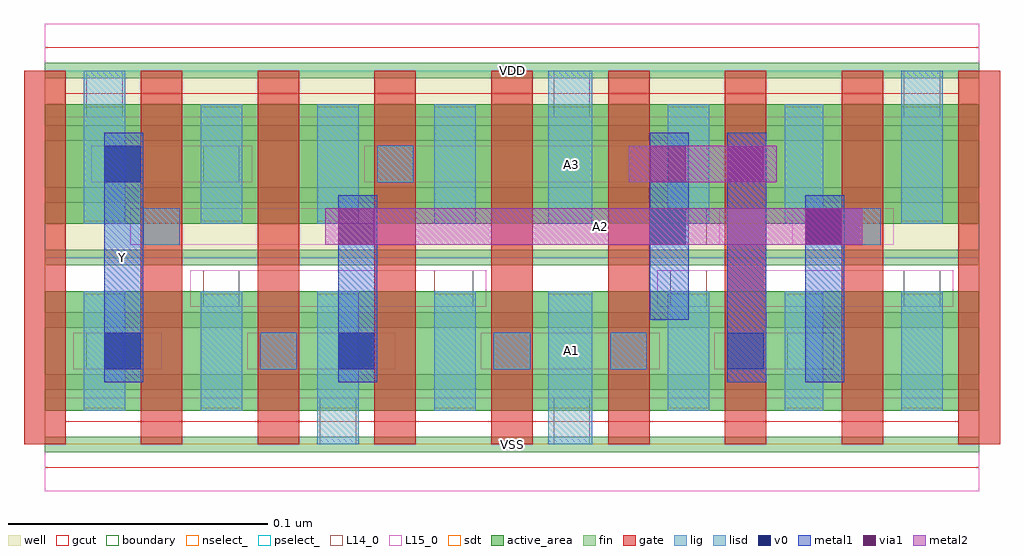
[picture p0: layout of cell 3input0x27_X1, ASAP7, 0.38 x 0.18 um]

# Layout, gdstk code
import gdstk
lib = gdstk.Library(unit=1e-6, precision=1e-09)
def R(c, l, rs):  # rectangles x0, y0, x1, y1
    for r in rs: c.add(gdstk.rectangle(r[:2], r[2:], *l))
def A(c, l, x, y, w, h, nx, ny, dx, dy):  # array of equal rectangles
    R(c, l, [(x+i*dx, y+j*dy, x+i*dx+w, y+j*dy+h) for i in range(nx) for j in range(ny)])
def P(c, l, *ps):  # polygons
    for p in ps: c.add(gdstk.Polygon(p, *l))
well = (1, 0)
fin = (2, 0)
gate = (7, 0)
gcut = (10, 0)
active_area = (11, 0)
nselect_ = (12, 0)
pselect_ = (13, 0)
L14_0 = (14, 0)
L15_0 = (15, 0)
lig = (16, 0)
lisd = (17, 0)
v0 = (18, 0)
metal1 = (19, 0)
metal2 = (20, 0)
via1 = (21, 0)
sdt = (88, 0)
boundary = (100, 0)

c_3input0x27_x1 = lib.new_cell('3input0x27_X1')
R(c_3input0x27_x1, well, [(0,0.072,0.36,0.144)])
A(c_3input0x27_x1, fin, 0, -0.003, 0.36, 0.006, 1, 7, 0, 0.024)
A(c_3input0x27_x1, gate, -0.008, 0, 0.016, 0.144, 9, 1, 0.045, 0)
P(c_3input0x27_x1, gcut, [(0,-0.009),(0,0),(-0.008,0),(-0.008,0.135),(0.008,0.135),(0.008,0.009),(0.352,0.009),(0.352,0.135),(-0.008,0.135),(-0.008,0.144),(0,0.144),(0,0.153),(0.36,0.153),(0.36,0.144),(0.368,0.144),(0.368,0),(0.36,0),(0.36,-0.009)])
R(c_3input0x27_x1, active_area, [(0,0.013,0.36,0.059), (0,0.085,0.36,0.131)])
R(c_3input0x27_x1, nselect_, [(0,0,0.36,0.072)])
R(c_3input0x27_x1, pselect_, [(0,0.072,0.36,0.144)])
R(c_3input0x27_x1, L14_0, [(0.106,0,0.12,0.018), (0.196,0,0.21,0.018), (0.016,0.029,0.03,0.043), (0.083,0.029,0.097,0.043), (0.173,0.029,0.187,0.043), (0.218,0.029,0.232,0.043), (0.286,0.029,0.3,0.043), (0.061,0.053,0.075,0.067), (0.15,0.053,0.165,0.067), (0.241,0.053,0.255,0.067), (0.331,0.053,0.345,0.067), (0.038,0.077,0.052,0.091), (0.241,0.077,0.255,0.091), (0.308,0.077,0.322,0.091), (0.061,0.101,0.075,0.115), (0.128,0.101,0.142,0.115), (0.263,0.101,0.277,0.115), (0.016,0.126,0.03,0.144), (0.196,0.126,0.21,0.144), (0.331,0.126,0.345,0.144)])
R(c_3input0x27_x1, L15_0, [(0,-0.018,0.36,0.018), (0.011,0.029,0.045,0.043), (0.078,0.029,0.135,0.043), (0.168,0.029,0.237,0.043), (0.258,0.029,0.304,0.043), (0.056,0.053,0.17,0.067), (0.236,0.053,0.35,0.067), (0.033,0.077,0.26,0.091), (0.288,0.077,0.327,0.091), (0.018,0.101,0.08,0.115), (0.123,0.101,0.282,0.115), (0,0.126,0.36,0.162)])
R(c_3input0x27_x1, lig, [(0.083,0.029,0.097,0.043), (0.173,0.029,0.187,0.043), (0.218,0.029,0.232,0.043), (0.038,0.077,0.052,0.091), (0.308,0.077,0.322,0.091), (0.128,0.101,0.142,0.115), (0.263,0.101,0.277,0.115)])
A(c_3input0x27_x1, lisd, 0.06, 0.013, 0.016, 0.046, 4, 1, 0.09, 0)
A(c_3input0x27_x1, lisd, 0.06, 0.085, 0.016, 0.046, 3, 1, 0.045, 0)
R(c_3input0x27_x1, lisd, [(0.105,0,0.121,0.059), (0.194,0,0.211,0.059), (0.015,0.013,0.031,0.059), (0.285,0.013,0.3,0.059), (0.015,0.085,0.031,0.144), (0.194,0.085,0.211,0.144), (0.24,0.085,0.256,0.131), (0.285,0.085,0.3,0.131), (0.33,0.085,0.346,0.144)])
R(c_3input0x27_x1, v0, [(0.023,0.029,0.037,0.043), (0.113,0.029,0.127,0.043), (0.263,0.029,0.277,0.043), (0.233,0.077,0.247,0.091), (0.293,0.077,0.307,0.091), (0.023,0.101,0.037,0.115)])
R(c_3input0x27_x1, metal1, [(0.023,0.024,0.038,0.12), (0.113,0.024,0.128,0.096), (0.263,0.024,0.278,0.12), (0.293,0.024,0.308,0.096), (0.233,0.048,0.248,0.12)])
R(c_3input0x27_x1, metal2, [(0.108,0.077,0.315,0.091), (0.225,0.101,0.282,0.115)])
R(c_3input0x27_x1, via1, [(0.113,0.077,0.127,0.091), (0.293,0.077,0.307,0.091), (0.233,0.101,0.247,0.115), (0.263,0.101,0.277,0.115)])
A(c_3input0x27_x1, sdt, 0.015, 0.014, 0.016, 0.044, 4, 2, 0.045, 0.072)
R(c_3input0x27_x1, sdt, [(0.194,0.014,0.211,0.058), (0.24,0.014,0.256,0.058), (0.285,0.014,0.3,0.058), (0.33,0.014,0.346,0.058), (0.194,0.086,0.211,0.13), (0.24,0.086,0.256,0.13), (0.285,0.086,0.3,0.13), (0.33,0.086,0.346,0.13)])
R(c_3input0x27_x1, boundary, [(0,0,0.36,0.144)])
c_3input0x27_x1.add(gdstk.Label('A1', (0.203,0.036), layer=15, texttype=251))
c_3input0x27_x1.add(gdstk.Label('VSS', (0.18,0), layer=15, texttype=251))
c_3input0x27_x1.add(gdstk.Label('VDD', (0.18,0.144), layer=15, texttype=251))
c_3input0x27_x1.add(gdstk.Label('A3', (0.203,0.108), layer=15, texttype=251))
c_3input0x27_x1.add(gdstk.Label('VSS', (0.18,0), layer=15, texttype=251))
c_3input0x27_x1.add(gdstk.Label('VDD', (0.18,0.144), layer=15, texttype=251))
c_3input0x27_x1.add(gdstk.Label('VSS', (0.18,0), layer=15, texttype=251))
c_3input0x27_x1.add(gdstk.Label('VDD', (0.18,0.144), layer=15, texttype=251))
c_3input0x27_x1.add(gdstk.Label('VSS', (0.18,0), layer=15, texttype=251))
c_3input0x27_x1.add(gdstk.Label('VDD', (0.18,0.144), layer=15, texttype=251))
c_3input0x27_x1.add(gdstk.Label('VSS', (0.18,0), layer=3, texttype=251))
c_3input0x27_x1.add(gdstk.Label('VSS', (0.18,0), layer=3, texttype=251))
c_3input0x27_x1.add(gdstk.Label('VSS', (0.18,0), layer=3, texttype=251))
c_3input0x27_x1.add(gdstk.Label('VSS', (0.18,0), layer=3, texttype=251))
c_3input0x27_x1.add(gdstk.Label('VDD', (0.18,0.144), layer=1, texttype=251))
c_3input0x27_x1.add(gdstk.Label('VDD', (0.18,0.144), layer=1, texttype=251))
c_3input0x27_x1.add(gdstk.Label('VDD', (0.18,0.144), layer=1, texttype=251))
c_3input0x27_x1.add(gdstk.Label('VDD', (0.18,0.144), layer=1, texttype=251))
c_3input0x27_x1.add(gdstk.Label('A2', (0.214,0.084), layer=20, texttype=251))
c_3input0x27_x1.add(gdstk.Label('Y', (0.03,0.072), layer=19, texttype=251))

lib.write_gds('3input0x27_X1.gds')
